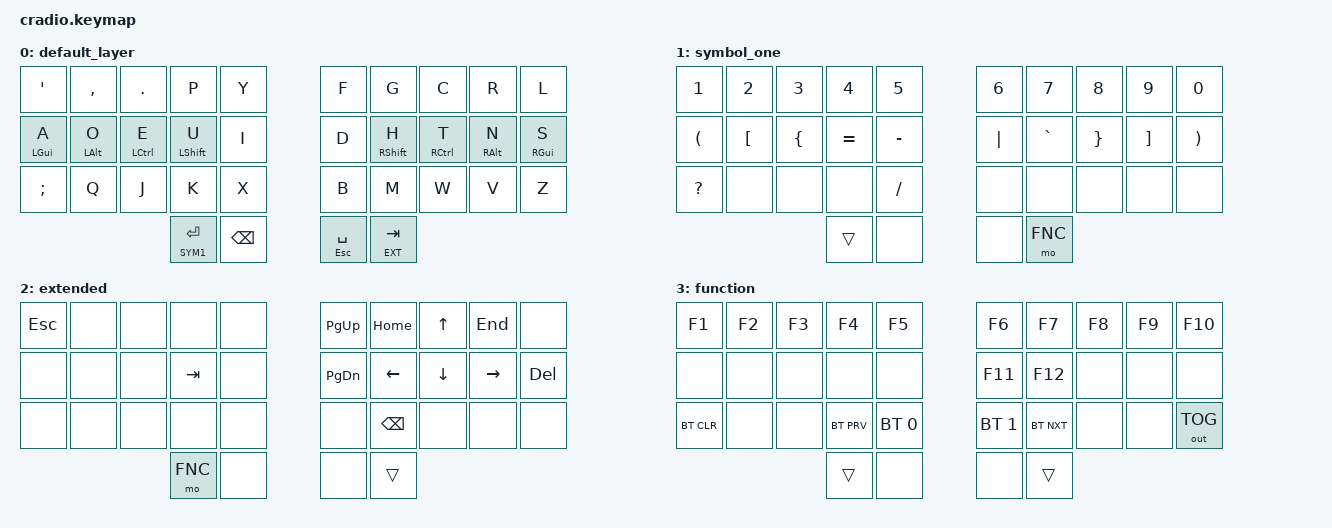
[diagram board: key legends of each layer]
/*
 * Copyright (c) 2020 The ZMK Contributors
 *
 * SPDX-License-Identifier: MIT
 */

#include <behaviors.dtsi>
#include <dt-bindings/zmk/keys.h>
#include <dt-bindings/zmk/bt.h>
#include <dt-bindings/zmk/outputs.h>

// Layers
#define DEFAULT 0
#define SYM1 1
#define EXT 2
#define FNC 3

&mt {
	flavor = "tap-preferred";
    tapping_term_ms = <200>;
};

/ { 

    combos {
        compatible = "zmk,combos";
        combo_esc {
            timeout-ms = <50>;
            key-positions = <14 17>; // Both Home row SHFT keys (U & H)
            bindings = <&kp ESC>;
        };
        
         combo_tab {
            timeout-ms = <50>;
            key-positions = <13 18>; // Both Home row CTRL keys (E & T)
            bindings = <&kp TAB>;
        };
        
    };

        keymap {
                compatible = "zmk,keymap";
                
       		default_layer {
		bindings = <
		&kp SQT    &kp COMMA  &kp DOT    &kp P      &kp Y 			&kp F &kp G      &kp C      &kp R      &kp L 
		&mt LGUI A &mt LALT O &mt LCTRL E &mt LSHFT U &kp I			&kp D &mt RSHFT H &mt RCTRL T &mt RALT N &mt RGUI S
		&kp SEMI   &kp Q      &kp J      &kp K      &kp X			&kp B &kp M      &kp W      &kp V      &kp Z

		                            &lt SYM1 RET &kp BKSP 	  			&mt ESC SPC &lt EXT TAB 
		>;
		};

       		symbol_one { 
		bindings = <
		&kp N1     &kp N2     &kp N3     &kp N4     &kp N5			&kp N6   &kp N7   &kp N8   &kp N9     &kp N0 
		&kp LPAR   &kp LBKT   &kp LBRC   &kp EQUAL  &kp MINUS 		&kp PIPE &kp GRAVE  &kp RBRC &kp RBKT   &kp RPAR
		&kp QMARK  &none      &none      &none      &kp SLASH 		&none    &none    &none    &none      	&none   
									&trans  &none     							&none    &mo FNC   
		>;
		};
		
			extended {
		bindings = <
		&kp ESC   &none     &none     &none     &none     			&kp PG_UP  &kp HOME  &kp UP    &kp END     &none    
		&none     &none     &none     &kp TAB   &none    			&kp PG_DN  &kp LEFT  &kp DOWN  &kp RIGHT   &kp DEL
		&none     &none     &none     &none     &none       		&none      &kp BKSP  &none     &none       &none   
					                    &mo FNC    &none     				&none     &trans
		>;
		};	
		
			function {
		bindings = <
		&kp F1      &kp F2    &kp F3    &kp F4       &kp F5    			&kp F6        &kp F7       &kp F8    &kp F9      &kp F10 
		&none       &none     &none     &none        &none       		&kp F11       &kp F12      &none     &none       &none   
		&bt BT_CLR  &none     &none     &bt BT_PRV  &bt BT_SEL 0       &bt BT_SEL 1  &bt BT_NXT  &none     &none       &out OUT_TOG   
					 					&trans &none  					&none &trans 
		>;
		};	
        
	};
};
